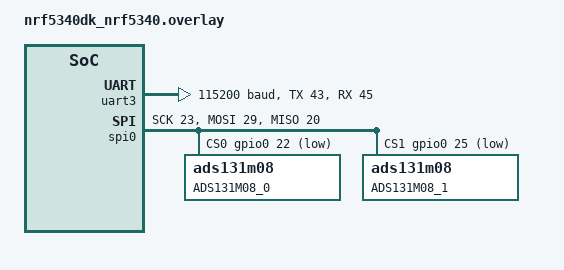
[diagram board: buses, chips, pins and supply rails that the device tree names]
&uart3 {
    status = "okay";
    compatible = "nordic,nrf-uarte";
    current-speed = <115200>;
    tx-pin = <43>;
    rx-pin = <45>;
    rts-pin = <0xFFFFFFFF>;
    cts-pin = <0xFFFFFFFF>;
};

&spi2 {
    status = "disabled";
};

&uart0 {
    status = "disabled";
};

&i2c0 {
    status = "disabled";
};

&spi0 {
    compatible = "nordic,nrf-spim";
    status = "okay";
    sck-pin = <23>;
    mosi-pin = <29>; //DIN
    miso-pin = <20>; //DOUT
    cs-gpios = <&gpio0 22 GPIO_ACTIVE_LOW>, <&gpio0 25 GPIO_ACTIVE_LOW>;

    ads131m08_0: ads131m08@0 {
        status = "okay";
        reg = <0>;
        label = "ADS131M08_0";
    };

    ads131m08_1: ads131m08@1 {
        status = "okay";
        reg = <1>;
        label = "ADS131M08_1";
    };
};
